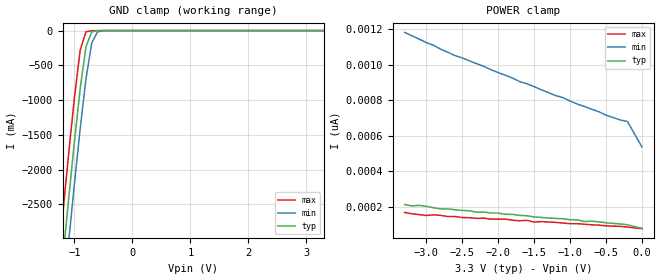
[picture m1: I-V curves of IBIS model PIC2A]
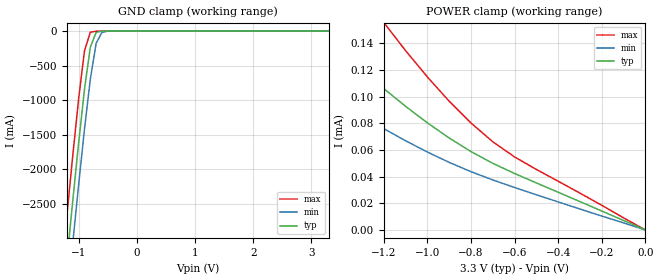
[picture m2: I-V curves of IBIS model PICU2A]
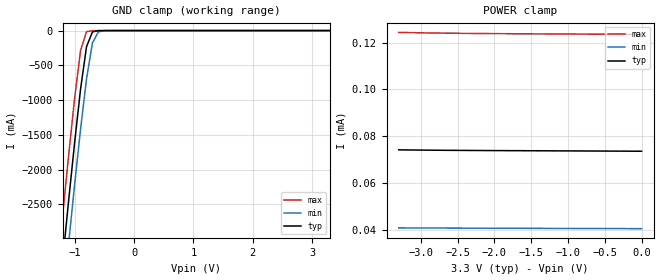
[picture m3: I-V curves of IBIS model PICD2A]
[IBIS Ver]   3.2
[Comment Char]   |_char
[File name]   lh79520.ibs
[File Rev]   1.0
[Date]   23-May-03
[Source]
   Sharp Microelectronics of the Americas,  CAD
[Notes]
   Model data are extracted from HSPICE simulation.
[Disclaimer]
   This information is provided for modeling purpose with no warranty.
[Copyright]
Copyright 2003,  Sharp Microelectronics of the Americas,  All Rights Reserved
| 176-Pin LQFP Package
[Component]   LH79520
Si_location Pin
Timing_location Pin
[Manufacturer]   Sharp Microelectronics of the Americas
[Package]
R_pkg   207m   NA   NA
L_pkg   9.77nH   NA   NA
C_pkg   1.56pF   NA   NA
[Pin] signal_name   model_name
1   nTSTA   PICU2A
2   A25   POC8A
3   A24   POC8A
4   A23   POC8A
5   A22   POC8A
6   A21   POC8A
7   A20   POC8A
8   VDD   POWER
9   A19   POC8A
10   A18   POC8A
11   A17   POC8A
12   A16   POC8A
13   VSS   GND
14   A15   POC8A
15   A14   POC8A
16   A13   POC8A
17   A12   POC8A
18   VDD   POWER
19   A11   POC8A
20   A10   POC8A
21   A9   POC8A
22   A8   POC8A
23   VSS   GND
24   A7   POC8A
25   A6   PBCC8A
26   A5   PBCC8A
27   A4   PBCC8A
28   VDD   POWER
29   A3   PBCC8A
30   A2   PBCC8A
31   A1   PBCC8A
32   A0   PBCC8A
33   VSS   GND
34   PH7/nBLE3   PBCC8A
35   PH6/nBLE2   PBCC8A
36   nBLE1   POC8A
37   nBLE0   POC8A
38   nOE   POC8A
39   nWE   POC8A
40   VDDC   NC
41   PH5/nCS6   PBCC8A
42   PH4/nCS5   PBCC8A
43   PH3/nCS4   PBCC8A
44   PH2/nCS3   PBCC8A
45   VSSC   NC
46   nCS2   POC8A
47   nCS1   POC8A
48   nCS0   POC8A
49   VDD   POWER
50   PH1/D31   PBCC8B
51   PH0/D30   PBCC8B
52   PG7/D29   PBCC8B
53   PG6/D28   PBCC8B
54   PG5/D27   PBCC8B
55   VSS   GND
56   PG4/D26   PBCC8B
57   PG3/D25   PBCC8B
58   PG2/D24   PBCC8B
59   PG1/D23   PBCC8B
60   PG0/D22   PBCC8B
61   PF7/D21   PBCC8B
62   PF6/D20   PBCC8B
63   PF5/D19   PBCC8B
64   VDD   POWER
65   PF4/D18   PBCC8B
66   PF3/D17   PBCC8B
67   PF2/D16   PBCC8B
68   D15   PBCC8B
69   D14   PBCC8B
70   VSS   GND
71   D13   PBCC8B
72   D12   PBCC8B
73   D11   PBCC8B
74   D10   PBCC8B
75   VDDC   NC
76   D9   PBCC8B
77   D8   PBCC8B
78   D7   PBCC8B
79   D6   PBCC8B
80   VSS   GND
81   D5   PBCC8B
82   D4   PBCC8B
83   D3   PBCC8B
84   D2   PBCC8B
85   VDD   POWER
86   D1   PBCC8B
87   D0   PBCC8B
88   CLKINSEL   PICD2A
89   XTAL32IN   POSC1W
90   XTAL32OUT   NC
91   VDDA   NC
92   VSSA   NC
93   XTALIN   POSC1
94   XTALOUT   NC
95   VDDC   NC
96   nRESETIN   PICSU2A
97   nRESETOUT   POC4C
98   CLKIN/UARTCLK   PIC2A
99   PF1/CLKEN   PBCC2A
100   VDD   POWER
101   PF0/SDCLK   PBCC8C
102   PE7/SDCKE   PBCC8A
103   VSS   GND
104   PE6/nDCS1   PBCC8A
105   PE5/nDCS0   PBCC8A
106   PE4/nSDWE   PBCC8A
107   nRAS   POC8A
108   nCAS   POC8A
109   PE3//DQM3   PBCC8A
110   PE2//DQM2   PBCC8A
111   PE1//DQM1   PBCC8A
112   PE0//DQM0   PBCC8A
113   VDDC   NC
114   INT7/LCDVD11   PBCSC8A
115   INT6/LCDVD10   PBCSC8A
116   PD7/LCDVD9   PBCC8A
117   PD6/LCDVD8   PBCC8A
118   PD5/LCDVD7   PBCC8A
119   PD4/LCDVD6/LCDPS   PBCC8A
120   VSSC   NC
121   PD3/LCDVD5   PBCC8A
122   PD2/LCDVD4   PBCC8A
123   PD1/LCDVD3   PBCC8A
124   PD0/LCDVD2   PBCC8A
125   VDD   POWER
126   LCDVD1   POC8A
127   LCDVD0   POC8A
128   VSS   GND
129   PC7/LCDFP/LCDSPS   PBCC8A
130   PC6/LCDVD17   PBCC8A
131   PC5/LCDLP   PBCC8A
132   PC4/LCDVD16   PBCC8A
133   PC3/LCDDCLK   PBCC8A
134   PC2/LCDDCLKIN   PBCC2A
135   PC1/LCDVDDEN/LCDCLS  PBCC8A
136   VDDC   NC
137   PC0/LCDENAB/LCDSPL   PBCC8A
138   VSSC   NC
139   PB7/LCDVD15/LCDDSPLE PBCC8A
140   PB6/LCDVD14   PBCC8A
141   PB5/LCDVD13   PBCC8A
142   PB4/LCDVD12/LCDREV   PBCC8A
143   VDD   POWER
144   INT5-DREQ1/nWAIT   PICS2A
145   CTOUT1B/DACK1   POC4C
146   PB3/DREQ0   PBCSC2A
147   PB2/nDACK0   PBCC4C
148   PB1/DEOT0   PBCC4C
149   VSS   GND
150   INT4/PWM0   PBCSC4C
151   INT3/PWMSYNC0   PICS2A
152   PB0/INT2   PBCSC2A
153   PA7/INT1   PBCSC2A
154   VDDC   NC
155   PA6/INT0   PBCSC2A
156   PA5/CLKOUT   PBCC8B
157   PWM1/DEOT1   POC4C
158   VSSC   NC
159   PA4/UARTTX1   PBCC4C
160   PA3/UARTRX1   PBCSC2A
161   VDD   POWER
162   UARTIRTX0/UARTTX0   PBCC4C
163   UARTIRRX0/UARTRX0   PBCSC2A
164   PA2/SSPFRM   PBCC4C
165   PA1/SSPCLK   PBCC4C
166   PA0/SSPEN   PBCC4C
167   SSPTX/UARTTX2   PBCC4C
168   VSS   GND
169   SSPRX/UARTRX2   PBCSC2A
170   TMS   PICSU2A
171   TDO   POC4C
172   TDI   PICSU2A
173   TCLK   PIC2A
174   nTRST   PICSU2A
175   TEST1   PICD2A
176   TEST2   PICD2A
| Models and submodels in the file (17): PIC2A (Input), PICU2A (Input), PICD2A (Input), PICS2A (Input), PICSU2A (Input), PBCC2A (I/O), PBCSC2A (I/O), POC4C (3-state), PBCC4C (I/O), PBCSC4C (I/O), POC8A (3-state), PBCC8A (I/O), PBCSC8A (I/O), PBCC8B (I/O), PBCC8C (I/O), POSC1 (Input), POSC1W (Input)
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[Model]   PIC2A
Model_type Input
Vinh=2.0
Vinl=0.8
C_comp   3.0pF   3.0pF   3.0pF
[Model Spec]
[Temperature Range] 25   85   -40
[Voltage Range]   3.3   3.0   3.6
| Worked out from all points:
|   GND clamp passes 1 mA (typ) near -0.59 V on its own axis
[GND Clamp]
-3.3V     -22.33A    -22.9A     -21.74A
-1.3V     -4.165A    -4.777A    -3.514A
-1.2V     -3.293A    -3.906A    -2.639A
-1.1V     -2.437A    -3.049A    -1.785A
-1V       -1.608A    -2.213A    -971.6mA
-900mV    -838.5mA   -1.415A    -282.7mA
-800mV    -231.2mA   -694.6mA   -16.39mA
-700mV    -18.3mA    -177.3mA   -2.444mA
-600mV    -1.112mA   -18.02mA   -425.1uA
-400mV    -3.806uA   -62.61uA   -948.1nA
3.3V      77.39pA    688.2pA    69.03pA
[POWER Clamp]
-3.3V     211.9pA    1.182nA    166.9pA
-3.2V     203.8pA    1.164nA    159.6pA
-3V       201.5pA    1.125nA    149.9pA
-2.9V     193.4pA    1.11nA     153.5pA
-2.6V     182pA      1.052nA    144.2pA
-1.7V     150.3pA    905pA      120pA
-1.6V     148.5pA    893pA      122.4pA
-1.5V     141.9pA    876.7pA    112.7pA
-1.3V     135.7pA    842.8pA    113.2pA
-500mV    108.8pA    715.8pA    91.56pA
-200mV    97.55pA    679.8pA    84.4pA
0V        77.26pA    536.7pA    75.55pA
[Model]   PICU2A
Model_type Input
Vinh=2.0
Vinl=0.8
C_comp   3.0pF   3.0pF   3.0pF
[Model Spec]
[Temperature Range] 25   85   -40
[Voltage Range]   3.3   3.0   3.6
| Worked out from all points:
|   GND clamp passes 1 mA (typ) near -0.58 V on its own axis
[GND Clamp]
-3.3V     -22.33A    -22.9A     -21.74A
-1.3V     -4.165A    -4.777A    -3.514A
-1.2V     -3.293A    -3.906A    -2.639A
-1.1V     -2.437A    -3.049A    -1.785A
-1V       -1.608A    -2.213A    -971.6mA
-900mV    -838.5mA   -1.415A    -282.8mA
-800mV    -231.2mA   -694.6mA   -16.44mA
-700mV    -18.33mA   -177.3mA   -2.528mA
-600mV    -1.169mA   -18.04mA   -519.3uA
-400mV    -73.23uA   -106.5uA   -102.2uA
3.3V      77.55pA    15.7uA     -25.13uA
[POWER Clamp]
-3.3V     406.2uA    158.1uA    579.2uA
-1.9V     216.2uA    151.8uA    320.3uA
-1.8V     199.3uA    140.1uA    296.4uA
-1.5V     150.5uA    106.3uA    224.3uA
-1.2V     106.1uA    76.04uA    155.7uA
-1.1V     92.8uA     66.97uA    134.6uA
-1V       80.4uA     58.5uA     114.8uA
-900mV    69.02uA    50.72uA    96.61uA
-800mV    58.83uA    43.73uA    80.26uA
-700mV    50uA       37.54uA    66.19uA
-600mV    42.37uA    31.87uA    54.79uA
0V        76.82pA    537.2pA    75.69pA
[Model]   PICD2A
Model_type Input
Vinh=2.0
Vinl=0.8
C_comp   3.0pF   3.0pF   3.0pF
[Model Spec]
[Temperature Range] 25   85   -40
[Voltage Range]   3.3   3.0   3.6
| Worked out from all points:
|   GND clamp passes 1 mA (typ) near -0.58 V on its own axis
[GND Clamp]
-3.3V     -22.33A    -22.9A     -21.74A
-1.3V     -4.165A    -4.777A    -3.514A
-1.2V     -3.293A    -3.906A    -2.639A
-1.1V     -2.437A    -3.049A    -1.785A
-1V       -1.608A    -2.213A    -971.6mA
-900mV    -838.5mA   -1.415A    -282.8mA
-800mV    -231.2mA   -694.6mA   -16.46mA
-700mV    -18.34mA   -177.3mA   -2.537mA
-600mV    -1.17mA    -18.03mA   -516.6uA
-400mV    -52.14uA   -95.17uA   -66.99uA
3.3V      73.54uA    40.44uA    123.5uA
[POWER Clamp]
-3.3V     74.13uA    40.75uA    124.4uA
-3.1V     74.06uA    40.71uA    124.3uA
-3V       74.03uA    40.7uA     124.2uA
-2.8V     73.97uA    40.67uA    124.1uA
-2.7V     73.95uA    40.66uA    124.1uA
-2.5V     73.91uA    40.64uA    124uA
-2.4V     73.89uA    40.63uA    124uA
-2.2V     73.85uA    40.61uA    123.9uA
-1.9V     73.8uA     40.58uA    123.8uA
-1.6V     73.76uA    40.56uA    123.8uA
-600mV    73.63uA    40.47uA    123.6uA
0V        73.54uA    40.41uA    123.5uA
